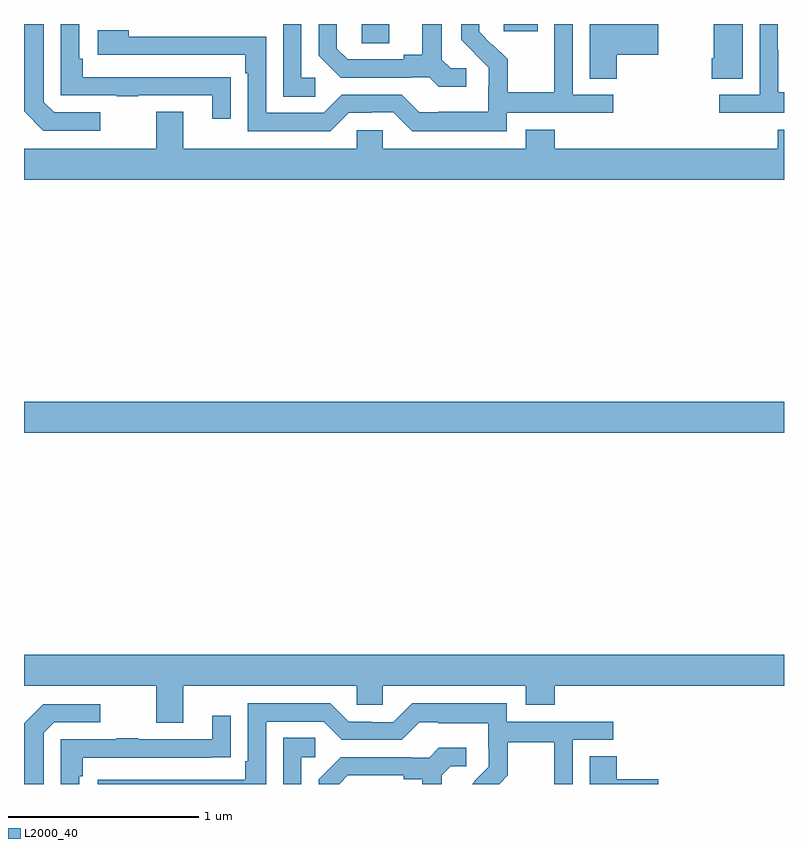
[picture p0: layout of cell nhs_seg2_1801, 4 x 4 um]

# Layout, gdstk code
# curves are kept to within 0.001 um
import gdstk
lib = gdstk.Library(unit=1e-6, precision=1e-09)
def R(c, l, rs):  # rectangles x0, y0, x1, y1
    for r in rs: c.add(gdstk.rectangle(r[:2], r[2:], *l))
def P(c, l, *ps):  # polygons
    for p in ps: c.add(gdstk.Polygon(p, *l))
L2000_40 = (2000, 40)

nhs_seg2_1801 = lib.new_cell('nhs_seg2_1801')
R(nhs_seg2_1801, L2000_40, [(205,635.648,209,635.812), (206.778,637.699,206.923,637.8), (207.524,637.761,207.703,637.8)])
P(nhs_seg2_1801, L2000_40, [(208.121,637.637),(208.339,637.637),(208.339,637.8),(207.977,637.8),(207.977,637.513),(208.121,637.513)],
  [(205.402,637.335),(205.158,637.335),(205.104,637.389),(205.104,637.8),(205,637.8),(205,637.341),(205.101,637.239),(205.402,637.239)],
  [(207.328,637.566),(207.246,637.566),(207.199,637.613),(207.199,637.8),(207.095,637.8),(207.095,637.637),(206.999,637.637),(206.999,637.614),(206.704,637.614),(206.647,637.671),(206.647,637.8),(206.55,637.8),(206.55,637.634),(206.666,637.518),(207.038,637.518),(207.038,637.521),(207.132,637.521),(207.184,637.469),(207.328,637.469)],
  [(206.533,637.518),(206.46,637.518),(206.46,637.8),(206.364,637.8),(206.364,637.417),(206.533,637.417)],
  [(209,637.441),(208.971,637.441),(208.971,637.664),(208.968,637.664),(208.968,637.8),(208.872,637.8),(208.872,637.428),(208.659,637.428),(208.659,637.332),(209,637.332)],
  [(208.783,637.8),(208.631,637.8),(208.631,637.621),(208.619,637.621),(208.619,637.513),(208.783,637.513)],
  [(206.087,637.52),(205.985,637.52),(205.985,637.521),(205.31,637.521),(205.31,637.618),(205.29,637.618),(205.29,637.8),(205.194,637.8),(205.194,637.425),(205.489,637.425),(205.489,637.42),(205.601,637.42),(205.601,637.425),(205.991,637.425),(205.991,637.302),(206.087,637.302)],
  [(207.54,637.332),(208.102,637.332),(208.102,637.428),(207.888,637.428),(207.888,637.8),(207.792,637.8),(207.792,637.664),(207.79,637.664),(207.79,637.441),(207.545,637.441),(207.545,637.615),(207.468,637.692),(207.465,637.689),(207.395,637.76),(207.395,637.8),(207.3,637.8),(207.3,637.718),(207.446,637.57),(207.446,637.473),(207.444,637.473),(207.444,637.339),(207.181,637.339),(207.181,637.335),(207.081,637.335),(206.988,637.428),(206.673,637.428),(206.577,637.332),(206.274,637.332),(206.274,637.734),(205.55,637.734),(205.55,637.768),(205.389,637.768),(205.389,637.638),(206.165,637.638),(206.165,637.541),(206.178,637.541),(206.178,637.236),(206.613,637.236),(206.709,637.332),(206.828,637.332),(206.828,637.335),(206.943,637.335),(207.043,637.235),(207.54,637.235)],
  [(209,637.243),(208.967,637.243),(208.967,637.144),(207.794,637.144),(207.794,637.243),(207.641,637.243),(207.641,637.144),(206.889,637.144),(206.889,637.242),(206.751,637.242),(206.751,637.144),(205.837,637.144),(205.837,637.339),(205.697,637.339),(205.697,637.144),(205,637.144),(205,636.98),(209,636.98)],
  [(205,634.316),(205.697,634.316),(205.697,634.122),(205.837,634.122),(205.837,634.316),(206.751,634.316),(206.751,634.218),(206.889,634.218),(206.889,634.316),(207.641,634.316),(207.641,634.217),(207.794,634.217),(207.794,634.316),(209,634.316),(209,634.48),(205,634.48)],
  [(206.274,634.128),(206.577,634.128),(206.673,634.032),(206.988,634.032),(207.081,634.125),(207.181,634.125),(207.181,634.121),(207.444,634.121),(207.444,633.987),(207.446,633.987),(207.446,633.89),(207.372,633.816),(207.373,633.815),(207.358,633.8),(207.5,633.8),(207.545,633.845),(207.545,634.02),(207.79,634.02),(207.79,633.8),(207.888,633.8),(207.888,634.032),(208.102,634.032),(208.102,634.128),(207.54,634.128),(207.54,634.225),(207.043,634.225),(206.943,634.125),(206.828,634.125),(206.828,634.128),(206.709,634.128),(206.613,634.224),(206.178,634.224),(206.178,633.919),(206.165,633.919),(206.165,633.822),(205.389,633.822),(205.389,633.8),(206.274,633.8)],
  [(205.104,634.071),(205.158,634.125),(205.402,634.125),(205.402,634.221),(205.101,634.221),(205,634.119),(205,633.8),(205.104,633.8)],
  [(205.29,633.842),(205.31,633.842),(205.31,633.939),(205.985,633.939),(205.985,633.94),(206.087,633.94),(206.087,634.159),(205.991,634.159),(205.991,634.035),(205.601,634.035),(205.601,634.04),(205.489,634.04),(205.489,634.035),(205.194,634.035),(205.194,633.8),(205.29,633.8)],
  [(206.46,633.942),(206.533,633.942),(206.533,634.043),(206.364,634.043),(206.364,633.8),(206.46,633.8)],
  [(206.704,633.846),(206.999,633.846),(206.999,633.824),(207.095,633.824),(207.095,633.8),(207.199,633.8),(207.199,633.847),(207.246,633.894),(207.328,633.894),(207.328,633.991),(207.184,633.991),(207.132,633.939),(207.038,633.939),(207.038,633.942),(206.666,633.942),(206.55,633.826),(206.55,633.8),(206.658,633.8)],
  [(208.339,633.824),(208.121,633.824),(208.121,633.947),(207.977,633.947),(207.977,633.8),(208.339,633.8)])

lib.write_gds('nhs_seg2_1801.gds')
